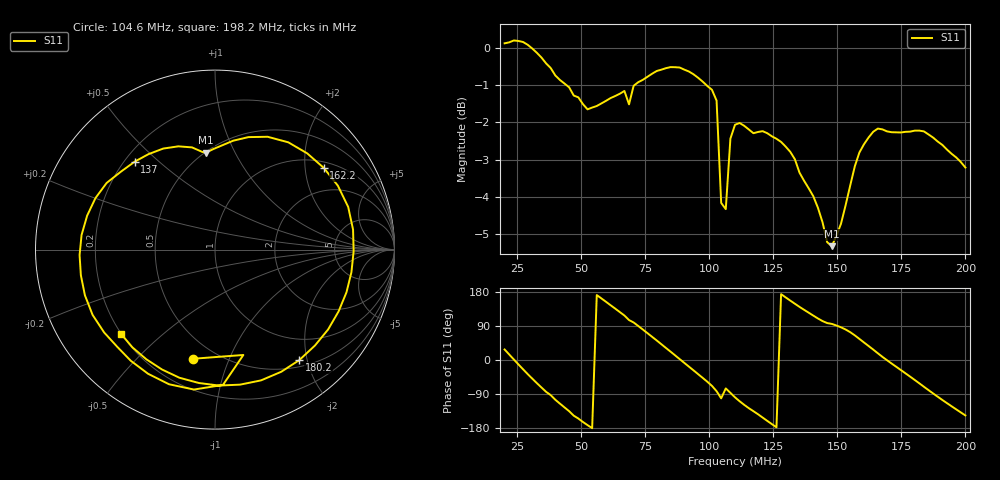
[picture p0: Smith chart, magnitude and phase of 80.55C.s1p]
# HZ S RI R 50
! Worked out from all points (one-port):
!   101 points, 20 MHz to 200 MHz, reference 50 ohm
!   lowest |S11| = -5.3 dB at 147.8 MHz (marker M1), VSWR 3.37, Z = 25.3 + j38.7 ohm
!   |S11| at or under -10 dB: nowhere
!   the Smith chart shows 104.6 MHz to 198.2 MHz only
!   S11 on the Smith chart (normalised r, x): 104.6 MHz: 0.38, -0.75; 137 MHz: 0.24, +0.42; 162.2 MHz: 1.18, +2.52; 180.2 MHz: 0.61, -1.87; 198.2 MHz: 0.20, -0.37
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2e7  0.8964 0.4724
2.54e7  0.9994 -0.2068
3.26e7  0.476 -0.8613
3.8e7  -0.0431 -0.9381
4.34e7  -0.5147 -0.7323
5.42e7  -0.8313 -0.000906
6.5e7  -0.5158 0.6975
7.58e7  0.2992 0.8637
8.3e7  0.7965 0.4964
8.84e7  0.9397 0.0374
9.38e7  0.8179 -0.4233
9.92e7  0.4781 -0.7488
1.028e8  0.1142 -0.8416
1.046e8  -0.12 -0.608
1.064e8  0.1579 -0.5871
1.1e8  -0.1173 -0.7797
1.226e8  -0.7248 -0.2544
1.334e8  -0.6037 0.3714
1.37e8  -0.447 0.4901
1.478e8  -0.0499 0.5401
1.55e8  0.1861 0.6267
1.622e8  0.6067 0.4548
1.694e8  0.7724 -0.00943
1.784e8  0.5569 -0.5344
1.802e8  0.4699 -0.6154
1.892e8  -0.0899 -0.7432
1.982e8  -0.5249 -0.4678
2e8  -0.5748 -0.3836
